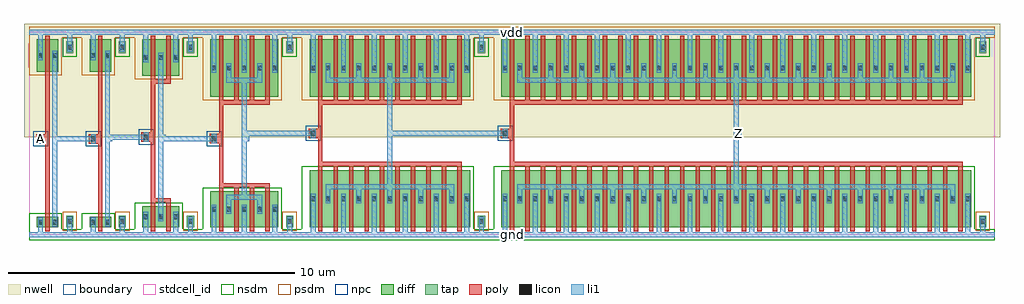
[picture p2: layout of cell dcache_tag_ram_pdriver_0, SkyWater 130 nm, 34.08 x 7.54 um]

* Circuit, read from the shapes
.subckt dcache_tag_ram_pdriver_0 A Z gnd vdd
XM1 dcache_tag_ram_pinv_4_1/A A gnd gnd sky130_fd_pr__nfet_01v8 w=0.36 l=0.15
XM2 dcache_tag_ram_pinv_5_2/A dcache_tag_ram_pinv_4_1/A gnd gnd sky130_fd_pr__nfet_01v8 w=0.36 l=0.15
XM3 dcache_tag_ram_pinv_6_3/A dcache_tag_ram_pinv_5_2/A gnd gnd sky130_fd_pr__nfet_01v8 w=0.74 l=0.15 m=2
XM4 dcache_tag_ram_pinv_7_4/A dcache_tag_ram_pinv_6_3/A gnd gnd sky130_fd_pr__nfet_01v8 w=1.26 l=0.15 m=4
XM5 dcache_tag_ram_pinv_8_5/A dcache_tag_ram_pinv_7_4/A gnd gnd sky130_fd_pr__nfet_01v8 w=2 l=0.15 m=10
XM6 Z dcache_tag_ram_pinv_8_5/A gnd gnd sky130_fd_pr__nfet_01v8 w=2 l=0.15 m=30
XM7 dcache_tag_ram_pinv_4_1/A A vdd vdd sky130_fd_pr__pfet_01v8 w=1.12 l=0.15
XM8 dcache_tag_ram_pinv_5_2/A dcache_tag_ram_pinv_4_1/A vdd vdd sky130_fd_pr__pfet_01v8 w=1.12 l=0.15
XM9 dcache_tag_ram_pinv_6_3/A dcache_tag_ram_pinv_5_2/A vdd vdd sky130_fd_pr__pfet_01v8 w=1.26 l=0.15 m=2
XM10 dcache_tag_ram_pinv_7_4/A dcache_tag_ram_pinv_6_3/A vdd vdd sky130_fd_pr__pfet_01v8 w=2 l=0.15 m=4
XM11 dcache_tag_ram_pinv_8_5/A dcache_tag_ram_pinv_7_4/A vdd vdd sky130_fd_pr__pfet_01v8 w=2 l=0.15 m=10
XM12 Z dcache_tag_ram_pinv_8_5/A vdd vdd sky130_fd_pr__pfet_01v8 w=2 l=0.15 m=30
.ends

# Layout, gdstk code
import gdstk
lib = gdstk.Library(unit=1e-6, precision=1e-09)
def R(c, l, rs):  # rectangles x0, y0, x1, y1
    for r in rs: c.add(gdstk.rectangle(r[:2], r[2:], *l))
def A(c, l, x, y, w, h, nx, ny, dx, dy):  # array of equal rectangles
    R(c, l, [(x+i*dx, y+j*dy, x+i*dx+w, y+j*dy+h) for i in range(nx) for j in range(ny)])
nwell = (64, 20)
diff = (65, 20)
tap = (65, 44)
poly = (66, 20)
licon = (66, 44)
li1 = (67, 20)
stdcell_id = (81, 4)
nsdm = (93, 44)
psdm = (94, 20)
npc = (95, 20)
boundary = (235, 4)

dcache_tag_ram_contact_1 = lib.new_cell('dcache_tag_ram_contact_11')
R(dcache_tag_ram_contact_1, nwell, [(-0.295,-0.255,0.545,0.585)])
R(dcache_tag_ram_contact_1, diff, [(0,0.02,0.25,0.31)])
R(dcache_tag_ram_contact_1, licon, [(0.04,0.08,0.21,0.25)])
R(dcache_tag_ram_contact_1, li1, [(0.04,0,0.21,0.33)])
R(dcache_tag_ram_contact_1, stdcell_id, [(-0.295,-0.255,0.545,0.585)])
R(dcache_tag_ram_contact_1, psdm, [(-0.125,-0.105,0.375,0.435)])
R(dcache_tag_ram_contact_1, boundary, [(-0.295,-0.255,0.545,0.585)])

dcache_tag_ram_pmos_m1_w = lib.new_cell('dcache_tag_ram_pmos_m1_w1_120_sli_dli_da_p')
R(dcache_tag_ram_pmos_m1_w, nwell, [(-0.27,-0.27,1.02,1.39)])
R(dcache_tag_ram_pmos_m1_w, diff, [(0,0,0.75,1.12)])
R(dcache_tag_ram_pmos_m1_w, poly, [(0.3,-0.13,0.45,1.25), (0.3,-0.13,0.45,1.25)])
R(dcache_tag_ram_pmos_m1_w, li1, [(0.04,0.395,0.21,0.725), (0.54,0.395,0.71,0.725)])
R(dcache_tag_ram_pmos_m1_w, stdcell_id, [(-0.27,-0.27,1.02,1.39)])
R(dcache_tag_ram_pmos_m1_w, psdm, [(-0.125,-0.125,0.875,1.245)])
R(dcache_tag_ram_pmos_m1_w, boundary, [(-0.27,-0.27,1.02,1.39)])
dcache_tag_ram_pmos_m1_w.add(gdstk.Reference(dcache_tag_ram_contact_1, (0,0.395)))
dcache_tag_ram_pmos_m1_w.add(gdstk.Reference(dcache_tag_ram_contact_1, (0.5,0.395)))
dcache_tag_ram_pmos_m1_w.add(gdstk.Label('G', (0.375,0.56), layer=66, texttype=5))
dcache_tag_ram_pmos_m1_w.add(gdstk.Label('S', (0.125,0.56), layer=67, texttype=5))
dcache_tag_ram_pmos_m1_w.add(gdstk.Label('D', (0.625,0.56), layer=67, texttype=5))

c_dcache_tag_ram_contact_1 = lib.new_cell('dcache_tag_ram_contact_10')
R(c_dcache_tag_ram_contact_1, diff, [(0,0.02,0.25,0.31)])
R(c_dcache_tag_ram_contact_1, licon, [(0.04,0.08,0.21,0.25)])
R(c_dcache_tag_ram_contact_1, li1, [(0.04,0,0.21,0.33)])
R(c_dcache_tag_ram_contact_1, stdcell_id, [(-0.125,-0.105,0.375,0.435)])
R(c_dcache_tag_ram_contact_1, nsdm, [(-0.125,-0.105,0.375,0.435)])
R(c_dcache_tag_ram_contact_1, boundary, [(-0.125,-0.105,0.375,0.435)])

dcache_tag_ram_nmos_m1_w = lib.new_cell('dcache_tag_ram_nmos_m1_w0_360_sli_dli_da_p')
R(dcache_tag_ram_nmos_m1_w, diff, [(0,0,0.75,0.36)])
R(dcache_tag_ram_nmos_m1_w, poly, [(0.3,-0.13,0.45,0.49), (0.3,-0.13,0.45,0.49)])
R(dcache_tag_ram_nmos_m1_w, li1, [(0.04,0.015,0.21,0.345), (0.54,0.015,0.71,0.345)])
R(dcache_tag_ram_nmos_m1_w, stdcell_id, [(-0.125,-0.13,0.875,0.49)])
R(dcache_tag_ram_nmos_m1_w, nsdm, [(-0.125,-0.125,0.875,0.485)])
R(dcache_tag_ram_nmos_m1_w, boundary, [(-0.125,-0.13,0.875,0.49)])
dcache_tag_ram_nmos_m1_w.add(gdstk.Reference(c_dcache_tag_ram_contact_1, (0,0.015)))
dcache_tag_ram_nmos_m1_w.add(gdstk.Reference(c_dcache_tag_ram_contact_1, (0.5,0.015)))
dcache_tag_ram_nmos_m1_w.add(gdstk.Label('G', (0.375,0.18), layer=66, texttype=5))
dcache_tag_ram_nmos_m1_w.add(gdstk.Label('S', (0.125,0.18), layer=67, texttype=5))
dcache_tag_ram_nmos_m1_w.add(gdstk.Label('D', (0.625,0.18), layer=67, texttype=5))

dcache_tag_ram_contact_2 = lib.new_cell('dcache_tag_ram_contact_24')
R(dcache_tag_ram_contact_2, nwell, [(-0.295,-0.215,0.545,0.625)])
R(dcache_tag_ram_contact_2, tap, [(0,0,0.25,0.41)])
R(dcache_tag_ram_contact_2, licon, [(0.04,0.12,0.21,0.29)])
R(dcache_tag_ram_contact_2, li1, [(0.04,0.04,0.21,0.37)])
R(dcache_tag_ram_contact_2, stdcell_id, [(-0.295,-0.215,0.545,0.625)])
R(dcache_tag_ram_contact_2, nsdm, [(-0.125,-0.125,0.375,0.535)])
R(dcache_tag_ram_contact_2, boundary, [(-0.295,-0.215,0.545,0.625)])

c_dcache_tag_ram_contact_2 = lib.new_cell('dcache_tag_ram_contact_25')
R(c_dcache_tag_ram_contact_2, tap, [(0,0,0.25,0.41)])
R(c_dcache_tag_ram_contact_2, licon, [(0.04,0.12,0.21,0.29)])
R(c_dcache_tag_ram_contact_2, li1, [(0.04,0.04,0.21,0.37)])
R(c_dcache_tag_ram_contact_2, stdcell_id, [(-0.125,-0.125,0.375,0.535)])
R(c_dcache_tag_ram_contact_2, psdm, [(-0.125,-0.125,0.375,0.535)])
R(c_dcache_tag_ram_contact_2, boundary, [(-0.125,-0.125,0.375,0.535)])

c_dcache_tag_ram_contact_1_ = lib.new_cell('dcache_tag_ram_contact_15')
R(c_dcache_tag_ram_contact_1_, poly, [(0,0,0.33,0.33)])
R(c_dcache_tag_ram_contact_1_, licon, [(0.08,0.08,0.25,0.25)])
R(c_dcache_tag_ram_contact_1_, li1, [(0.08,0,0.25,0.33)])
R(c_dcache_tag_ram_contact_1_, stdcell_id, [(-0.1,-0.1,0.43,0.43)])
R(c_dcache_tag_ram_contact_1_, npc, [(-0.1,-0.1,0.43,0.43)])
R(c_dcache_tag_ram_contact_1_, boundary, [(-0.1,-0.1,0.43,0.43)])

dcache_tag_ram_pinv_4 = lib.new_cell('dcache_tag_ram_pinv_4')
R(dcache_tag_ram_pinv_4, nwell, [(-0.18,3.395,2.02,7.355)])
R(dcache_tag_ram_pinv_4, poly, [(0.57,0.745,0.72,5.565), (0.405,3.18,0.57,3.51)])
R(dcache_tag_ram_pinv_4, li1, [(0,-0.085,1.84,0.085), (0.31,-0.085,0.48,0.27), (1.33,0,1.5,0.46), (0.81,0.27,0.98,6.42), (0.32,3.18,0.49,3.51), (0.895,3.26,1.065,3.43), (0.31,6.09,0.48,7.155), (1.33,6.545,1.5,7.07), (0,6.985,1.84,7.155)])
R(dcache_tag_ram_pinv_4, stdcell_id, [(0,0,1.84,7.07), (0,0,1.84,7.07)])
R(dcache_tag_ram_pinv_4, nsdm, [(0,-0.19,1.84,0.19), (0,0,1.145,0.74)])
R(dcache_tag_ram_pinv_4, psdm, [(0,5.57,1.145,7.07), (0,6.88,1.84,7.26)])
R(dcache_tag_ram_pinv_4, boundary, [(0,0,1.84,7.07), (0,0,1.84,7.07)])
dcache_tag_ram_pinv_4.add(gdstk.Reference(dcache_tag_ram_pmos_m1_w, (0.27,5.695)))
dcache_tag_ram_pinv_4.add(gdstk.Reference(dcache_tag_ram_nmos_m1_w, (0.27,0.255)))
dcache_tag_ram_pinv_4.add(gdstk.Reference(dcache_tag_ram_contact_2, (1.29,6.34)))
dcache_tag_ram_pinv_4.add(gdstk.Reference(c_dcache_tag_ram_contact_2, (1.29,0.255)))
dcache_tag_ram_pinv_4.add(gdstk.Reference(c_dcache_tag_ram_contact_1_, (0.24,3.18)))
dcache_tag_ram_pinv_4.add(gdstk.Label('A', (0.405,3.345), layer=67, texttype=5))
dcache_tag_ram_pinv_4.add(gdstk.Label('Z', (0.98,3.345), layer=67, texttype=5))
dcache_tag_ram_pinv_4.add(gdstk.Label('gnd', (0.92,0), layer=67, texttype=5))
dcache_tag_ram_pinv_4.add(gdstk.Label('vdd', (0.92,7.07), layer=67, texttype=5))

dcache_tag_ram_pmos_m2_w = lib.new_cell('dcache_tag_ram_pmos_m2_w1_260_sli_dli_da_p')
R(dcache_tag_ram_pmos_m2_w, nwell, [(-0.27,-0.27,1.56,1.53)])
R(dcache_tag_ram_pmos_m2_w, diff, [(0,0,1.29,1.26)])
R(dcache_tag_ram_pmos_m2_w, poly, [(0.3,-0.28,0.99,-0.13), (0.3,-0.13,0.45,1.39), (0.84,-0.13,0.99,1.39)])
A(dcache_tag_ram_pmos_m2_w, li1, 0.04, 0.465, 0.17, 0.33, 3, 1, 0.52, 0)
R(dcache_tag_ram_pmos_m2_w, stdcell_id, [(-0.27,-0.28,1.56,1.53)])
R(dcache_tag_ram_pmos_m2_w, psdm, [(-0.125,-0.125,1.415,1.385)])
R(dcache_tag_ram_pmos_m2_w, boundary, [(-0.27,-0.28,1.56,1.53)])
dcache_tag_ram_pmos_m2_w.add(gdstk.Reference(dcache_tag_ram_contact_1, (0,0.465)))
dcache_tag_ram_pmos_m2_w.add(gdstk.Reference(dcache_tag_ram_contact_1, (0.52,0.465)))
dcache_tag_ram_pmos_m2_w.add(gdstk.Reference(dcache_tag_ram_contact_1, (1.04,0.465)))
dcache_tag_ram_pmos_m2_w.add(gdstk.Label('G', (0.645,-0.205), layer=66, texttype=5))
dcache_tag_ram_pmos_m2_w.add(gdstk.Label('S', (1.165,0.63), layer=67, texttype=5))
dcache_tag_ram_pmos_m2_w.add(gdstk.Label('S', (0.125,0.63), layer=67, texttype=5))
dcache_tag_ram_pmos_m2_w.add(gdstk.Label('D', (0.645,0.63), layer=67, texttype=5))

dcache_tag_ram_nmos_m2_w = lib.new_cell('dcache_tag_ram_nmos_m2_w0_740_sli_dli_da_p')
R(dcache_tag_ram_nmos_m2_w, diff, [(0,0,1.29,0.74)])
R(dcache_tag_ram_nmos_m2_w, poly, [(0.3,-0.13,0.45,0.87), (0.84,-0.13,0.99,0.87), (0.3,0.87,0.99,1.02)])
A(dcache_tag_ram_nmos_m2_w, li1, 0.04, 0.205, 0.17, 0.33, 3, 1, 0.52, 0)
R(dcache_tag_ram_nmos_m2_w, stdcell_id, [(-0.125,-0.13,1.415,1.02)])
R(dcache_tag_ram_nmos_m2_w, nsdm, [(-0.125,-0.125,1.415,0.865)])
R(dcache_tag_ram_nmos_m2_w, boundary, [(-0.125,-0.13,1.415,1.02)])
dcache_tag_ram_nmos_m2_w.add(gdstk.Reference(c_dcache_tag_ram_contact_1, (0,0.205)))
dcache_tag_ram_nmos_m2_w.add(gdstk.Reference(c_dcache_tag_ram_contact_1, (0.52,0.205)))
dcache_tag_ram_nmos_m2_w.add(gdstk.Reference(c_dcache_tag_ram_contact_1, (1.04,0.205)))
dcache_tag_ram_nmos_m2_w.add(gdstk.Label('G', (0.645,0.945), layer=66, texttype=5))
dcache_tag_ram_nmos_m2_w.add(gdstk.Label('S', (1.165,0.37), layer=67, texttype=5))
dcache_tag_ram_nmos_m2_w.add(gdstk.Label('S', (0.125,0.37), layer=67, texttype=5))
dcache_tag_ram_nmos_m2_w.add(gdstk.Label('D', (0.645,0.37), layer=67, texttype=5))

dcache_tag_ram_pinv_5 = lib.new_cell('dcache_tag_ram_pinv_5')
R(dcache_tag_ram_pinv_5, nwell, [(-0.18,3.395,2.56,7.355)])
R(dcache_tag_ram_pinv_5, poly, [(0.57,1.275,0.72,5.275), (0.405,3.24,0.57,3.57)])
R(dcache_tag_ram_pinv_5, li1, [(0,-0.085,2.38,0.085), (0.31,-0.085,0.48,0.46), (1.35,-0.085,1.52,0.46), (1.87,0,2.04,0.46), (0.83,0.46,1,6.35), (0.32,3.24,0.49,3.57), (0.915,3.32,1.085,3.49), (0.31,6.02,0.48,7.155), (1.35,6.02,1.52,7.155), (1.87,6.545,2.04,7.07), (0,6.985,2.38,7.155)])
R(dcache_tag_ram_pinv_5, stdcell_id, [(0,0,2.38,7.07), (0,0,2.38,7.07)])
R(dcache_tag_ram_pinv_5, nsdm, [(0,-0.19,2.38,0.19), (0,0,1.685,1.12)])
R(dcache_tag_ram_pinv_5, psdm, [(0,5.43,1.685,7.07), (0,6.88,2.38,7.26)])
R(dcache_tag_ram_pinv_5, boundary, [(0,0,2.38,7.07), (0,0,2.38,7.07)])
dcache_tag_ram_pinv_5.add(gdstk.Reference(dcache_tag_ram_pmos_m2_w, (0.27,5.555)))
dcache_tag_ram_pinv_5.add(gdstk.Reference(dcache_tag_ram_nmos_m2_w, (0.27,0.255)))
dcache_tag_ram_pinv_5.add(gdstk.Reference(dcache_tag_ram_contact_2, (1.83,6.34)))
dcache_tag_ram_pinv_5.add(gdstk.Reference(c_dcache_tag_ram_contact_2, (1.83,0.255)))
dcache_tag_ram_pinv_5.add(gdstk.Reference(c_dcache_tag_ram_contact_1_, (0.24,3.24)))
dcache_tag_ram_pinv_5.add(gdstk.Label('A', (0.405,3.405), layer=67, texttype=5))
dcache_tag_ram_pinv_5.add(gdstk.Label('Z', (1,3.405), layer=67, texttype=5))
dcache_tag_ram_pinv_5.add(gdstk.Label('gnd', (1.19,0), layer=67, texttype=5))
dcache_tag_ram_pinv_5.add(gdstk.Label('vdd', (1.19,7.07), layer=67, texttype=5))

dcache_tag_ram_pmos_m4_w = lib.new_cell('dcache_tag_ram_pmos_m4_w2_000_sli_dli_da_p')
R(dcache_tag_ram_pmos_m4_w, nwell, [(-0.27,-0.27,2.64,2.27)])
R(dcache_tag_ram_pmos_m4_w, diff, [(0,0,2.37,2)])
A(dcache_tag_ram_pmos_m4_w, poly, 0.3, -0.13, 0.15, 2.26, 4, 1, 0.54, 0)
R(dcache_tag_ram_pmos_m4_w, poly, [(0.3,-0.28,2.07,-0.13)])
A(dcache_tag_ram_pmos_m4_w, li1, 0.04, 0.835, 0.17, 0.33, 3, 1, 1.06, 0)
R(dcache_tag_ram_pmos_m4_w, li1, [(0.56,0.495,1.81,0.665), (0.56,0.58,0.73,1), (1.64,0.58,1.81,1)])
R(dcache_tag_ram_pmos_m4_w, stdcell_id, [(-0.27,-0.28,2.64,2.27)])
R(dcache_tag_ram_pmos_m4_w, psdm, [(-0.125,-0.125,2.495,2.125)])
R(dcache_tag_ram_pmos_m4_w, boundary, [(-0.27,-0.28,2.64,2.27)])
dcache_tag_ram_pmos_m4_w.add(gdstk.Reference(dcache_tag_ram_contact_1, (0,0.835)))
dcache_tag_ram_pmos_m4_w.add(gdstk.Reference(dcache_tag_ram_contact_1, (0.52,0.835)))
dcache_tag_ram_pmos_m4_w.add(gdstk.Reference(dcache_tag_ram_contact_1, (1.06,0.835)))
dcache_tag_ram_pmos_m4_w.add(gdstk.Reference(dcache_tag_ram_contact_1, (1.6,0.835)))
dcache_tag_ram_pmos_m4_w.add(gdstk.Reference(dcache_tag_ram_contact_1, (2.12,0.835)))
dcache_tag_ram_pmos_m4_w.add(gdstk.Label('G', (1.185,-0.205), layer=66, texttype=5))
dcache_tag_ram_pmos_m4_w.add(gdstk.Label('S', (0.125,1), layer=67, texttype=5))
dcache_tag_ram_pmos_m4_w.add(gdstk.Label('S', (1.185,1), layer=67, texttype=5))
dcache_tag_ram_pmos_m4_w.add(gdstk.Label('S', (2.245,1), layer=67, texttype=5))
dcache_tag_ram_pmos_m4_w.add(gdstk.Label('D', (1.185,0.58), layer=67, texttype=5))

dcache_tag_ram_nmos_m4_w = lib.new_cell('dcache_tag_ram_nmos_m4_w1_260_sli_dli_da_p')
R(dcache_tag_ram_nmos_m4_w, diff, [(0,0,2.37,1.26)])
A(dcache_tag_ram_nmos_m4_w, poly, 0.3, -0.13, 0.15, 1.52, 4, 1, 0.54, 0)
R(dcache_tag_ram_nmos_m4_w, poly, [(0.3,1.39,2.07,1.54)])
A(dcache_tag_ram_nmos_m4_w, li1, 0.04, 0.465, 0.17, 0.33, 3, 1, 1.06, 0)
R(dcache_tag_ram_nmos_m4_w, li1, [(0.56,0.63,0.73,1.05), (1.64,0.63,1.81,1.05), (0.56,0.965,1.81,1.135)])
R(dcache_tag_ram_nmos_m4_w, stdcell_id, [(-0.125,-0.13,2.495,1.54)])
R(dcache_tag_ram_nmos_m4_w, nsdm, [(-0.125,-0.125,2.495,1.385)])
R(dcache_tag_ram_nmos_m4_w, boundary, [(-0.125,-0.13,2.495,1.54)])
dcache_tag_ram_nmos_m4_w.add(gdstk.Reference(c_dcache_tag_ram_contact_1, (0,0.465)))
dcache_tag_ram_nmos_m4_w.add(gdstk.Reference(c_dcache_tag_ram_contact_1, (0.52,0.465)))
dcache_tag_ram_nmos_m4_w.add(gdstk.Reference(c_dcache_tag_ram_contact_1, (1.06,0.465)))
dcache_tag_ram_nmos_m4_w.add(gdstk.Reference(c_dcache_tag_ram_contact_1, (1.6,0.465)))
dcache_tag_ram_nmos_m4_w.add(gdstk.Reference(c_dcache_tag_ram_contact_1, (2.12,0.465)))
dcache_tag_ram_nmos_m4_w.add(gdstk.Label('G', (1.185,1.465), layer=66, texttype=5))
dcache_tag_ram_nmos_m4_w.add(gdstk.Label('S', (2.245,0.63), layer=67, texttype=5))
dcache_tag_ram_nmos_m4_w.add(gdstk.Label('S', (1.185,0.63), layer=67, texttype=5))
dcache_tag_ram_nmos_m4_w.add(gdstk.Label('S', (0.125,0.63), layer=67, texttype=5))
dcache_tag_ram_nmos_m4_w.add(gdstk.Label('D', (1.185,1.05), layer=67, texttype=5))

dcache_tag_ram_pinv_6 = lib.new_cell('dcache_tag_ram_pinv_6')
R(dcache_tag_ram_pinv_6, nwell, [(-0.18,3.395,3.64,7.355)])
R(dcache_tag_ram_pinv_6, poly, [(0.57,1.795,0.72,4.535), (0.405,3.185,0.57,3.515)])
A(dcache_tag_ram_pinv_6, li1, 0.31, -0.085, 0.17, 0.805, 3, 1, 1.06, 0)
A(dcache_tag_ram_pinv_6, li1, 0.31, 5.65, 0.17, 1.505, 3, 1, 1.06, 0)
R(dcache_tag_ram_pinv_6, li1, [(0,-0.085,3.46,0.085), (2.95,0,3.12,0.46), (1.37,1.22,1.54,5.48), (0.32,3.185,0.49,3.515), (1.455,3.265,1.625,3.435), (2.95,6.545,3.12,7.07), (0,6.985,3.46,7.155)])
R(dcache_tag_ram_pinv_6, stdcell_id, [(0,0,3.46,7.07), (0,0,3.46,7.07)])
R(dcache_tag_ram_pinv_6, nsdm, [(0,-0.19,3.46,0.19), (0,0,2.765,1.64)])
R(dcache_tag_ram_pinv_6, psdm, [(0,4.69,2.765,7.07), (0,6.88,3.46,7.26)])
R(dcache_tag_ram_pinv_6, boundary, [(0,0,3.46,7.07), (0,0,3.46,7.07)])
dcache_tag_ram_pinv_6.add(gdstk.Reference(dcache_tag_ram_pmos_m4_w, (0.27,4.815)))
dcache_tag_ram_pinv_6.add(gdstk.Reference(dcache_tag_ram_nmos_m4_w, (0.27,0.255)))
dcache_tag_ram_pinv_6.add(gdstk.Reference(dcache_tag_ram_contact_2, (2.91,6.34)))
dcache_tag_ram_pinv_6.add(gdstk.Reference(c_dcache_tag_ram_contact_2, (2.91,0.255)))
dcache_tag_ram_pinv_6.add(gdstk.Reference(c_dcache_tag_ram_contact_1_, (0.24,3.185)))
dcache_tag_ram_pinv_6.add(gdstk.Label('A', (0.405,3.35), layer=67, texttype=5))
dcache_tag_ram_pinv_6.add(gdstk.Label('Z', (1.54,3.35), layer=67, texttype=5))
dcache_tag_ram_pinv_6.add(gdstk.Label('gnd', (1.73,0), layer=67, texttype=5))
dcache_tag_ram_pinv_6.add(gdstk.Label('vdd', (1.73,7.07), layer=67, texttype=5))

dcache_tag_ram_pmos_m10_ = lib.new_cell('dcache_tag_ram_pmos_m10_w2_000_sli_dli_da_p')
R(dcache_tag_ram_pmos_m10_, nwell, [(-0.27,-0.27,5.88,2.27)])
R(dcache_tag_ram_pmos_m10_, diff, [(0,0,5.61,2)])
A(dcache_tag_ram_pmos_m10_, poly, 0.3, -0.13, 0.15, 2.26, 10, 1, 0.54, 0)
R(dcache_tag_ram_pmos_m10_, poly, [(0.3,-0.28,5.31,-0.13)])
A(dcache_tag_ram_pmos_m10_, li1, 0.56, 0.58, 0.17, 0.42, 5, 1, 1.08, 0)
A(dcache_tag_ram_pmos_m10_, li1, 1.1, 0.835, 0.17, 0.33, 4, 1, 1.08, 0)
R(dcache_tag_ram_pmos_m10_, li1, [(0.56,0.495,5.05,0.665), (0.04,0.835,0.21,1.165), (5.4,0.835,5.57,1.165)])
R(dcache_tag_ram_pmos_m10_, stdcell_id, [(-0.27,-0.28,5.88,2.27)])
R(dcache_tag_ram_pmos_m10_, psdm, [(-0.125,-0.125,5.735,2.125)])
R(dcache_tag_ram_pmos_m10_, boundary, [(-0.27,-0.28,5.88,2.27)])
dcache_tag_ram_pmos_m10_.add(gdstk.Reference(dcache_tag_ram_contact_1, (0,0.835)))
dcache_tag_ram_pmos_m10_.add(gdstk.Reference(dcache_tag_ram_contact_1, (0.52,0.835)))
dcache_tag_ram_pmos_m10_.add(gdstk.Reference(dcache_tag_ram_contact_1, (1.06,0.835)))
dcache_tag_ram_pmos_m10_.add(gdstk.Reference(dcache_tag_ram_contact_1, (1.6,0.835)))
dcache_tag_ram_pmos_m10_.add(gdstk.Reference(dcache_tag_ram_contact_1, (2.14,0.835)))
dcache_tag_ram_pmos_m10_.add(gdstk.Reference(dcache_tag_ram_contact_1, (2.68,0.835)))
dcache_tag_ram_pmos_m10_.add(gdstk.Reference(dcache_tag_ram_contact_1, (3.22,0.835)))
dcache_tag_ram_pmos_m10_.add(gdstk.Reference(dcache_tag_ram_contact_1, (3.76,0.835)))
dcache_tag_ram_pmos_m10_.add(gdstk.Reference(dcache_tag_ram_contact_1, (4.3,0.835)))
dcache_tag_ram_pmos_m10_.add(gdstk.Reference(dcache_tag_ram_contact_1, (4.84,0.835)))
dcache_tag_ram_pmos_m10_.add(gdstk.Reference(dcache_tag_ram_contact_1, (5.36,0.835)))
dcache_tag_ram_pmos_m10_.add(gdstk.Label('G', (2.805,-0.205), layer=66, texttype=5))
dcache_tag_ram_pmos_m10_.add(gdstk.Label('S', (5.485,1), layer=67, texttype=5))
dcache_tag_ram_pmos_m10_.add(gdstk.Label('S', (2.265,1), layer=67, texttype=5))
dcache_tag_ram_pmos_m10_.add(gdstk.Label('S', (1.185,1), layer=67, texttype=5))
dcache_tag_ram_pmos_m10_.add(gdstk.Label('S', (0.125,1), layer=67, texttype=5))
dcache_tag_ram_pmos_m10_.add(gdstk.Label('S', (3.345,1), layer=67, texttype=5))
dcache_tag_ram_pmos_m10_.add(gdstk.Label('S', (4.425,1), layer=67, texttype=5))
dcache_tag_ram_pmos_m10_.add(gdstk.Label('D', (2.805,0.58), layer=67, texttype=5))

dcache_tag_ram_nmos_m10_ = lib.new_cell('dcache_tag_ram_nmos_m10_w2_000_sli_dli_da_p')
R(dcache_tag_ram_nmos_m10_, diff, [(0,0,5.61,2)])
A(dcache_tag_ram_nmos_m10_, poly, 0.3, -0.13, 0.15, 2.26, 10, 1, 0.54, 0)
R(dcache_tag_ram_nmos_m10_, poly, [(0.3,2.13,5.31,2.28)])
A(dcache_tag_ram_nmos_m10_, li1, 1.1, 0.835, 0.17, 0.33, 4, 1, 1.08, 0)
A(dcache_tag_ram_nmos_m10_, li1, 0.56, 1, 0.17, 0.42, 5, 1, 1.08, 0)
R(dcache_tag_ram_nmos_m10_, li1, [(0.04,0.835,0.21,1.165), (5.4,0.835,5.57,1.165), (0.56,1.335,5.05,1.505)])
R(dcache_tag_ram_nmos_m10_, stdcell_id, [(-0.125,-0.13,5.735,2.28)])
R(dcache_tag_ram_nmos_m10_, nsdm, [(-0.125,-0.125,5.735,2.125)])
R(dcache_tag_ram_nmos_m10_, boundary, [(-0.125,-0.13,5.735,2.28)])
dcache_tag_ram_nmos_m10_.add(gdstk.Reference(c_dcache_tag_ram_contact_1, (0,0.835)))
dcache_tag_ram_nmos_m10_.add(gdstk.Reference(c_dcache_tag_ram_contact_1, (0.52,0.835)))
dcache_tag_ram_nmos_m10_.add(gdstk.Reference(c_dcache_tag_ram_contact_1, (1.06,0.835)))
dcache_tag_ram_nmos_m10_.add(gdstk.Reference(c_dcache_tag_ram_contact_1, (1.6,0.835)))
dcache_tag_ram_nmos_m10_.add(gdstk.Reference(c_dcache_tag_ram_contact_1, (2.14,0.835)))
dcache_tag_ram_nmos_m10_.add(gdstk.Reference(c_dcache_tag_ram_contact_1, (2.68,0.835)))
dcache_tag_ram_nmos_m10_.add(gdstk.Reference(c_dcache_tag_ram_contact_1, (3.22,0.835)))
dcache_tag_ram_nmos_m10_.add(gdstk.Reference(c_dcache_tag_ram_contact_1, (3.76,0.835)))
dcache_tag_ram_nmos_m10_.add(gdstk.Reference(c_dcache_tag_ram_contact_1, (4.3,0.835)))
dcache_tag_ram_nmos_m10_.add(gdstk.Reference(c_dcache_tag_ram_contact_1, (4.84,0.835)))
dcache_tag_ram_nmos_m10_.add(gdstk.Reference(c_dcache_tag_ram_contact_1, (5.36,0.835)))
dcache_tag_ram_nmos_m10_.add(gdstk.Label('G', (2.805,2.205), layer=66, texttype=5))
dcache_tag_ram_nmos_m10_.add(gdstk.Label('S', (5.485,1), layer=67, texttype=5))
dcache_tag_ram_nmos_m10_.add(gdstk.Label('S', (2.265,1), layer=67, texttype=5))
dcache_tag_ram_nmos_m10_.add(gdstk.Label('S', (1.185,1), layer=67, texttype=5))
dcache_tag_ram_nmos_m10_.add(gdstk.Label('S', (0.125,1), layer=67, texttype=5))
dcache_tag_ram_nmos_m10_.add(gdstk.Label('S', (3.345,1), layer=67, texttype=5))
dcache_tag_ram_nmos_m10_.add(gdstk.Label('S', (4.425,1), layer=67, texttype=5))
dcache_tag_ram_nmos_m10_.add(gdstk.Label('D', (2.805,1.42), layer=67, texttype=5))

dcache_tag_ram_pinv_7 = lib.new_cell('dcache_tag_ram_pinv_7')
R(dcache_tag_ram_pinv_7, nwell, [(-0.18,3.395,6.88,7.355)])
R(dcache_tag_ram_pinv_7, poly, [(0.57,2.535,0.72,4.535), (0.405,3.37,0.57,3.7)])
A(dcache_tag_ram_pinv_7, li1, 1.37, -0.085, 0.17, 1.175, 4, 1, 1.08, 0)
A(dcache_tag_ram_pinv_7, li1, 1.37, 5.65, 0.17, 1.505, 4, 1, 1.08, 0)
R(dcache_tag_ram_pinv_7, li1, [(0,-0.085,6.7,0.085), (0.31,-0.085,0.48,1.09), (5.67,-0.085,5.84,1.09), (6.19,0,6.36,0.46), (2.99,1.59,3.16,5.48), (0.32,3.37,0.49,3.7), (3.075,3.45,3.245,3.62), (0.31,5.65,0.48,7.155), (5.67,5.65,5.84,7.155), (6.19,6.545,6.36,7.07), (0,6.985,6.7,7.155)])
R(dcache_tag_ram_pinv_7, stdcell_id, [(0,0,6.7,7.07), (0,0,6.7,7.07)])
R(dcache_tag_ram_pinv_7, nsdm, [(0,-0.19,6.7,0.19), (0,0,6.005,2.38)])
R(dcache_tag_ram_pinv_7, psdm, [(0,4.69,6.005,7.07), (0,6.88,6.7,7.26)])
R(dcache_tag_ram_pinv_7, boundary, [(0,0,6.7,7.07), (0,0,6.7,7.07)])
dcache_tag_ram_pinv_7.add(gdstk.Reference(dcache_tag_ram_pmos_m10_, (0.27,4.815)))
dcache_tag_ram_pinv_7.add(gdstk.Reference(dcache_tag_ram_nmos_m10_, (0.27,0.255)))
dcache_tag_ram_pinv_7.add(gdstk.Reference(dcache_tag_ram_contact_2, (6.15,6.34)))
dcache_tag_ram_pinv_7.add(gdstk.Reference(c_dcache_tag_ram_contact_2, (6.15,0.255)))
dcache_tag_ram_pinv_7.add(gdstk.Reference(c_dcache_tag_ram_contact_1_, (0.24,3.37)))
dcache_tag_ram_pinv_7.add(gdstk.Label('A', (0.405,3.535), layer=67, texttype=5))
dcache_tag_ram_pinv_7.add(gdstk.Label('Z', (3.16,3.535), layer=67, texttype=5))
dcache_tag_ram_pinv_7.add(gdstk.Label('gnd', (3.35,0), layer=67, texttype=5))
dcache_tag_ram_pinv_7.add(gdstk.Label('vdd', (3.35,7.07), layer=67, texttype=5))

dcache_tag_ram_pmos_m30_ = lib.new_cell('dcache_tag_ram_pmos_m30_w2_000_sli_dli_da_p')
R(dcache_tag_ram_pmos_m30_, nwell, [(-0.27,-0.27,16.68,2.27)])
R(dcache_tag_ram_pmos_m30_, diff, [(0,0,16.41,2)])
A(dcache_tag_ram_pmos_m30_, poly, 0.3, -0.13, 0.15, 2.26, 30, 1, 0.54, 0)
R(dcache_tag_ram_pmos_m30_, poly, [(0.3,-0.28,16.11,-0.13)])
A(dcache_tag_ram_pmos_m30_, li1, 0.56, 0.58, 0.17, 0.42, 15, 1, 1.08, 0)
A(dcache_tag_ram_pmos_m30_, li1, 1.1, 0.835, 0.17, 0.33, 14, 1, 1.08, 0)
R(dcache_tag_ram_pmos_m30_, li1, [(0.56,0.495,15.85,0.665), (0.04,0.835,0.21,1.165), (16.2,0.835,16.37,1.165)])
R(dcache_tag_ram_pmos_m30_, stdcell_id, [(-0.27,-0.28,16.68,2.27)])
R(dcache_tag_ram_pmos_m30_, psdm, [(-0.125,-0.125,16.535,2.125)])
R(dcache_tag_ram_pmos_m30_, boundary, [(-0.27,-0.28,16.68,2.27)])
dcache_tag_ram_pmos_m30_.add(gdstk.Reference(dcache_tag_ram_contact_1, (0,0.835)))
dcache_tag_ram_pmos_m30_.add(gdstk.Reference(dcache_tag_ram_contact_1, (0.52,0.835)))
dcache_tag_ram_pmos_m30_.add(gdstk.Reference(dcache_tag_ram_contact_1, (1.06,0.835)))
dcache_tag_ram_pmos_m30_.add(gdstk.Reference(dcache_tag_ram_contact_1, (1.6,0.835)))
dcache_tag_ram_pmos_m30_.add(gdstk.Reference(dcache_tag_ram_contact_1, (2.14,0.835)))
dcache_tag_ram_pmos_m30_.add(gdstk.Reference(dcache_tag_ram_contact_1, (2.68,0.835)))
dcache_tag_ram_pmos_m30_.add(gdstk.Reference(dcache_tag_ram_contact_1, (3.22,0.835)))
dcache_tag_ram_pmos_m30_.add(gdstk.Reference(dcache_tag_ram_contact_1, (3.76,0.835)))
dcache_tag_ram_pmos_m30_.add(gdstk.Reference(dcache_tag_ram_contact_1, (4.3,0.835)))
dcache_tag_ram_pmos_m30_.add(gdstk.Reference(dcache_tag_ram_contact_1, (4.84,0.835)))
dcache_tag_ram_pmos_m30_.add(gdstk.Reference(dcache_tag_ram_contact_1, (5.38,0.835)))
dcache_tag_ram_pmos_m30_.add(gdstk.Reference(dcache_tag_ram_contact_1, (5.92,0.835)))
dcache_tag_ram_pmos_m30_.add(gdstk.Reference(dcache_tag_ram_contact_1, (6.46,0.835)))
dcache_tag_ram_pmos_m30_.add(gdstk.Reference(dcache_tag_ram_contact_1, (7,0.835)))
dcache_tag_ram_pmos_m30_.add(gdstk.Reference(dcache_tag_ram_contact_1, (7.54,0.835)))
dcache_tag_ram_pmos_m30_.add(gdstk.Reference(dcache_tag_ram_contact_1, (8.08,0.835)))
dcache_tag_ram_pmos_m30_.add(gdstk.Reference(dcache_tag_ram_contact_1, (8.62,0.835)))
dcache_tag_ram_pmos_m30_.add(gdstk.Reference(dcache_tag_ram_contact_1, (9.16,0.835)))
dcache_tag_ram_pmos_m30_.add(gdstk.Reference(dcache_tag_ram_contact_1, (9.7,0.835)))
dcache_tag_ram_pmos_m30_.add(gdstk.Reference(dcache_tag_ram_contact_1, (10.24,0.835)))
dcache_tag_ram_pmos_m30_.add(gdstk.Reference(dcache_tag_ram_contact_1, (10.78,0.835)))
dcache_tag_ram_pmos_m30_.add(gdstk.Reference(dcache_tag_ram_contact_1, (11.32,0.835)))
dcache_tag_ram_pmos_m30_.add(gdstk.Reference(dcache_tag_ram_contact_1, (11.86,0.835)))
dcache_tag_ram_pmos_m30_.add(gdstk.Reference(dcache_tag_ram_contact_1, (12.4,0.835)))
dcache_tag_ram_pmos_m30_.add(gdstk.Reference(dcache_tag_ram_contact_1, (12.94,0.835)))
dcache_tag_ram_pmos_m30_.add(gdstk.Reference(dcache_tag_ram_contact_1, (13.48,0.835)))
dcache_tag_ram_pmos_m30_.add(gdstk.Reference(dcache_tag_ram_contact_1, (14.02,0.835)))
dcache_tag_ram_pmos_m30_.add(gdstk.Reference(dcache_tag_ram_contact_1, (14.56,0.835)))
dcache_tag_ram_pmos_m30_.add(gdstk.Reference(dcache_tag_ram_contact_1, (15.1,0.835)))
dcache_tag_ram_pmos_m30_.add(gdstk.Reference(dcache_tag_ram_contact_1, (15.64,0.835)))
dcache_tag_ram_pmos_m30_.add(gdstk.Reference(dcache_tag_ram_contact_1, (16.16,0.835)))
dcache_tag_ram_pmos_m30_.add(gdstk.Label('G', (8.205,-0.205), layer=66, texttype=5))
dcache_tag_ram_pmos_m30_.add(gdstk.Label('S', (5.505,1), layer=67, texttype=5))
dcache_tag_ram_pmos_m30_.add(gdstk.Label('S', (2.265,1), layer=67, texttype=5))
dcache_tag_ram_pmos_m30_.add(gdstk.Label('S', (15.225,1), layer=67, texttype=5))
dcache_tag_ram_pmos_m30_.add(gdstk.Label('S', (16.285,1), layer=67, texttype=5))
dcache_tag_ram_pmos_m30_.add(gdstk.Label('S', (1.185,1), layer=67, texttype=5))
dcache_tag_ram_pmos_m30_.add(gdstk.Label('S', (8.745,1), layer=67, texttype=5))
dcache_tag_ram_pmos_m30_.add(gdstk.Label('S', (7.665,1), layer=67, texttype=5))
dcache_tag_ram_pmos_m30_.add(gdstk.Label('S', (9.825,1), layer=67, texttype=5))
dcache_tag_ram_pmos_m30_.add(gdstk.Label('S', (10.905,1), layer=67, texttype=5))
dcache_tag_ram_pmos_m30_.add(gdstk.Label('S', (0.125,1), layer=67, texttype=5))
dcache_tag_ram_pmos_m30_.add(gdstk.Label('S', (6.585,1), layer=67, texttype=5))
dcache_tag_ram_pmos_m30_.add(gdstk.Label('S', (3.345,1), layer=67, texttype=5))
dcache_tag_ram_pmos_m30_.add(gdstk.Label('S', (13.065,1), layer=67, texttype=5))
dcache_tag_ram_pmos_m30_.add(gdstk.Label('S', (11.985,1), layer=67, texttype=5))
dcache_tag_ram_pmos_m30_.add(gdstk.Label('S', (14.145,1), layer=67, texttype=5))
dcache_tag_ram_pmos_m30_.add(gdstk.Label('S', (4.425,1), layer=67, texttype=5))
dcache_tag_ram_pmos_m30_.add(gdstk.Label('D', (8.205,0.58), layer=67, texttype=5))

dcache_tag_ram_nmos_m30_ = lib.new_cell('dcache_tag_ram_nmos_m30_w2_000_sli_dli_da_p')
R(dcache_tag_ram_nmos_m30_, diff, [(0,0,16.41,2)])
A(dcache_tag_ram_nmos_m30_, poly, 0.3, -0.13, 0.15, 2.26, 30, 1, 0.54, 0)
R(dcache_tag_ram_nmos_m30_, poly, [(0.3,2.13,16.11,2.28)])
A(dcache_tag_ram_nmos_m30_, li1, 1.1, 0.835, 0.17, 0.33, 14, 1, 1.08, 0)
A(dcache_tag_ram_nmos_m30_, li1, 0.56, 1, 0.17, 0.42, 15, 1, 1.08, 0)
R(dcache_tag_ram_nmos_m30_, li1, [(0.04,0.835,0.21,1.165), (16.2,0.835,16.37,1.165), (0.56,1.335,15.85,1.505)])
R(dcache_tag_ram_nmos_m30_, stdcell_id, [(-0.125,-0.13,16.535,2.28)])
R(dcache_tag_ram_nmos_m30_, nsdm, [(-0.125,-0.125,16.535,2.125)])
R(dcache_tag_ram_nmos_m30_, boundary, [(-0.125,-0.13,16.535,2.28)])
dcache_tag_ram_nmos_m30_.add(gdstk.Reference(c_dcache_tag_ram_contact_1, (0,0.835)))
dcache_tag_ram_nmos_m30_.add(gdstk.Reference(c_dcache_tag_ram_contact_1, (0.52,0.835)))
dcache_tag_ram_nmos_m30_.add(gdstk.Reference(c_dcache_tag_ram_contact_1, (1.06,0.835)))
dcache_tag_ram_nmos_m30_.add(gdstk.Reference(c_dcache_tag_ram_contact_1, (1.6,0.835)))
dcache_tag_ram_nmos_m30_.add(gdstk.Reference(c_dcache_tag_ram_contact_1, (2.14,0.835)))
dcache_tag_ram_nmos_m30_.add(gdstk.Reference(c_dcache_tag_ram_contact_1, (2.68,0.835)))
dcache_tag_ram_nmos_m30_.add(gdstk.Reference(c_dcache_tag_ram_contact_1, (3.22,0.835)))
dcache_tag_ram_nmos_m30_.add(gdstk.Reference(c_dcache_tag_ram_contact_1, (3.76,0.835)))
dcache_tag_ram_nmos_m30_.add(gdstk.Reference(c_dcache_tag_ram_contact_1, (4.3,0.835)))
dcache_tag_ram_nmos_m30_.add(gdstk.Reference(c_dcache_tag_ram_contact_1, (4.84,0.835)))
dcache_tag_ram_nmos_m30_.add(gdstk.Reference(c_dcache_tag_ram_contact_1, (5.38,0.835)))
dcache_tag_ram_nmos_m30_.add(gdstk.Reference(c_dcache_tag_ram_contact_1, (5.92,0.835)))
dcache_tag_ram_nmos_m30_.add(gdstk.Reference(c_dcache_tag_ram_contact_1, (6.46,0.835)))
dcache_tag_ram_nmos_m30_.add(gdstk.Reference(c_dcache_tag_ram_contact_1, (7,0.835)))
dcache_tag_ram_nmos_m30_.add(gdstk.Reference(c_dcache_tag_ram_contact_1, (7.54,0.835)))
dcache_tag_ram_nmos_m30_.add(gdstk.Reference(c_dcache_tag_ram_contact_1, (8.08,0.835)))
dcache_tag_ram_nmos_m30_.add(gdstk.Reference(c_dcache_tag_ram_contact_1, (8.62,0.835)))
dcache_tag_ram_nmos_m30_.add(gdstk.Reference(c_dcache_tag_ram_contact_1, (9.16,0.835)))
dcache_tag_ram_nmos_m30_.add(gdstk.Reference(c_dcache_tag_ram_contact_1, (9.7,0.835)))
dcache_tag_ram_nmos_m30_.add(gdstk.Reference(c_dcache_tag_ram_contact_1, (10.24,0.835)))
dcache_tag_ram_nmos_m30_.add(gdstk.Reference(c_dcache_tag_ram_contact_1, (10.78,0.835)))
dcache_tag_ram_nmos_m30_.add(gdstk.Reference(c_dcache_tag_ram_contact_1, (11.32,0.835)))
dcache_tag_ram_nmos_m30_.add(gdstk.Reference(c_dcache_tag_ram_contact_1, (11.86,0.835)))
dcache_tag_ram_nmos_m30_.add(gdstk.Reference(c_dcache_tag_ram_contact_1, (12.4,0.835)))
dcache_tag_ram_nmos_m30_.add(gdstk.Reference(c_dcache_tag_ram_contact_1, (12.94,0.835)))
dcache_tag_ram_nmos_m30_.add(gdstk.Reference(c_dcache_tag_ram_contact_1, (13.48,0.835)))
dcache_tag_ram_nmos_m30_.add(gdstk.Reference(c_dcache_tag_ram_contact_1, (14.02,0.835)))
dcache_tag_ram_nmos_m30_.add(gdstk.Reference(c_dcache_tag_ram_contact_1, (14.56,0.835)))
dcache_tag_ram_nmos_m30_.add(gdstk.Reference(c_dcache_tag_ram_contact_1, (15.1,0.835)))
dcache_tag_ram_nmos_m30_.add(gdstk.Reference(c_dcache_tag_ram_contact_1, (15.64,0.835)))
dcache_tag_ram_nmos_m30_.add(gdstk.Reference(c_dcache_tag_ram_contact_1, (16.16,0.835)))
dcache_tag_ram_nmos_m30_.add(gdstk.Label('G', (8.205,2.205), layer=66, texttype=5))
dcache_tag_ram_nmos_m30_.add(gdstk.Label('S', (5.505,1), layer=67, texttype=5))
dcache_tag_ram_nmos_m30_.add(gdstk.Label('S', (2.265,1), layer=67, texttype=5))
dcache_tag_ram_nmos_m30_.add(gdstk.Label('S', (15.225,1), layer=67, texttype=5))
dcache_tag_ram_nmos_m30_.add(gdstk.Label('S', (16.285,1), layer=67, texttype=5))
dcache_tag_ram_nmos_m30_.add(gdstk.Label('S', (1.185,1), layer=67, texttype=5))
dcache_tag_ram_nmos_m30_.add(gdstk.Label('S', (8.745,1), layer=67, texttype=5))
dcache_tag_ram_nmos_m30_.add(gdstk.Label('S', (7.665,1), layer=67, texttype=5))
dcache_tag_ram_nmos_m30_.add(gdstk.Label('S', (9.825,1), layer=67, texttype=5))
dcache_tag_ram_nmos_m30_.add(gdstk.Label('S', (10.905,1), layer=67, texttype=5))
dcache_tag_ram_nmos_m30_.add(gdstk.Label('S', (0.125,1), layer=67, texttype=5))
dcache_tag_ram_nmos_m30_.add(gdstk.Label('S', (6.585,1), layer=67, texttype=5))
dcache_tag_ram_nmos_m30_.add(gdstk.Label('S', (3.345,1), layer=67, texttype=5))
dcache_tag_ram_nmos_m30_.add(gdstk.Label('S', (13.065,1), layer=67, texttype=5))
dcache_tag_ram_nmos_m30_.add(gdstk.Label('S', (11.985,1), layer=67, texttype=5))
dcache_tag_ram_nmos_m30_.add(gdstk.Label('S', (14.145,1), layer=67, texttype=5))
dcache_tag_ram_nmos_m30_.add(gdstk.Label('S', (4.425,1), layer=67, texttype=5))
dcache_tag_ram_nmos_m30_.add(gdstk.Label('D', (8.205,1.42), layer=67, texttype=5))

dcache_tag_ram_pinv_8 = lib.new_cell('dcache_tag_ram_pinv_8')
R(dcache_tag_ram_pinv_8, nwell, [(-0.18,3.395,17.68,7.355)])
R(dcache_tag_ram_pinv_8, poly, [(0.57,2.535,0.72,4.535), (0.405,3.37,0.57,3.7)])
A(dcache_tag_ram_pinv_8, li1, 1.37, -0.085, 0.17, 1.175, 14, 1, 1.08, 0)
A(dcache_tag_ram_pinv_8, li1, 1.37, 5.65, 0.17, 1.505, 14, 1, 1.08, 0)
R(dcache_tag_ram_pinv_8, li1, [(0,-0.085,17.5,0.085), (0.31,-0.085,0.48,1.09), (16.47,-0.085,16.64,1.09), (16.99,0,17.16,0.46), (8.39,1.59,8.56,5.48), (0.32,3.37,0.49,3.7), (8.475,3.45,8.645,3.62), (0.31,5.65,0.48,7.155), (16.47,5.65,16.64,7.155), (16.99,6.545,17.16,7.07), (0,6.985,17.5,7.155)])
R(dcache_tag_ram_pinv_8, stdcell_id, [(0,0,17.5,7.07), (0,0,17.5,7.07)])
R(dcache_tag_ram_pinv_8, nsdm, [(0,-0.19,17.5,0.19), (0,0,16.805,2.38)])
R(dcache_tag_ram_pinv_8, psdm, [(0,4.69,16.805,7.07), (0,6.88,17.5,7.26)])
R(dcache_tag_ram_pinv_8, boundary, [(0,0,17.5,7.07), (0,0,17.5,7.07)])
dcache_tag_ram_pinv_8.add(gdstk.Reference(dcache_tag_ram_pmos_m30_, (0.27,4.815)))
dcache_tag_ram_pinv_8.add(gdstk.Reference(dcache_tag_ram_nmos_m30_, (0.27,0.255)))
dcache_tag_ram_pinv_8.add(gdstk.Reference(dcache_tag_ram_contact_2, (16.95,6.34)))
dcache_tag_ram_pinv_8.add(gdstk.Reference(c_dcache_tag_ram_contact_2, (16.95,0.255)))
dcache_tag_ram_pinv_8.add(gdstk.Reference(c_dcache_tag_ram_contact_1_, (0.24,3.37)))
dcache_tag_ram_pinv_8.add(gdstk.Label('A', (0.405,3.535), layer=67, texttype=5))
dcache_tag_ram_pinv_8.add(gdstk.Label('Z', (8.56,3.535), layer=67, texttype=5))
dcache_tag_ram_pinv_8.add(gdstk.Label('gnd', (8.75,0), layer=67, texttype=5))
dcache_tag_ram_pinv_8.add(gdstk.Label('vdd', (8.75,7.07), layer=67, texttype=5))

dcache_tag_ram_pdriver_0 = lib.new_cell('dcache_tag_ram_pdriver_0')
R(dcache_tag_ram_pdriver_0, nwell, [(-0.18,3.395,33.9,7.355)])
R(dcache_tag_ram_pdriver_0, li1, [(0,-0.085,33.72,0.085), (0.32,3.18,0.49,3.51), (0.98,3.26,2.245,3.43), (4.595,3.265,4.765,3.435), (4.68,3.265,6.465,3.435), (2.735,3.32,2.905,3.49), (2.82,3.32,4.085,3.49), (2.735,3.345,2.905,3.405), (4.595,3.35,4.765,3.405), (7.515,3.35,7.685,3.535), (7.515,3.45,7.685,3.62), (7.6,3.45,9.925,3.62), (12.68,3.45,16.625,3.62), (24.695,3.45,24.865,3.62), (0,6.985,33.72,7.155)])
R(dcache_tag_ram_pdriver_0, stdcell_id, [(0,0,33.72,7.07), (0,0,33.72,7.07)])
R(dcache_tag_ram_pdriver_0, nsdm, [(0,-0.19,33.72,0.19)])
R(dcache_tag_ram_pdriver_0, psdm, [(0,6.88,33.72,7.26)])
R(dcache_tag_ram_pdriver_0, boundary, [(0,0,33.72,7.07), (0,0,33.72,7.07)])
dcache_tag_ram_pdriver_0.add(gdstk.Reference(dcache_tag_ram_pinv_4, (0,0)))
dcache_tag_ram_pdriver_0.add(gdstk.Reference(dcache_tag_ram_pinv_4, (1.84,0)))
dcache_tag_ram_pdriver_0.add(gdstk.Reference(dcache_tag_ram_pinv_5, (3.68,0)))
dcache_tag_ram_pdriver_0.add(gdstk.Reference(dcache_tag_ram_pinv_6, (6.06,0)))
dcache_tag_ram_pdriver_0.add(gdstk.Reference(dcache_tag_ram_pinv_7, (9.52,0)))
dcache_tag_ram_pdriver_0.add(gdstk.Reference(dcache_tag_ram_pinv_8, (16.22,0)))
dcache_tag_ram_pdriver_0.add(gdstk.Label('Z', (24.78,3.535), layer=67, texttype=5))
dcache_tag_ram_pdriver_0.add(gdstk.Label('A', (0.405,3.345), layer=67, texttype=5))
dcache_tag_ram_pdriver_0.add(gdstk.Label('gnd', (16.86,0), layer=67, texttype=5))
dcache_tag_ram_pdriver_0.add(gdstk.Label('vdd', (16.86,7.07), layer=67, texttype=5))

lib.write_gds('dcache_tag_ram_pdriver_0.gds')
